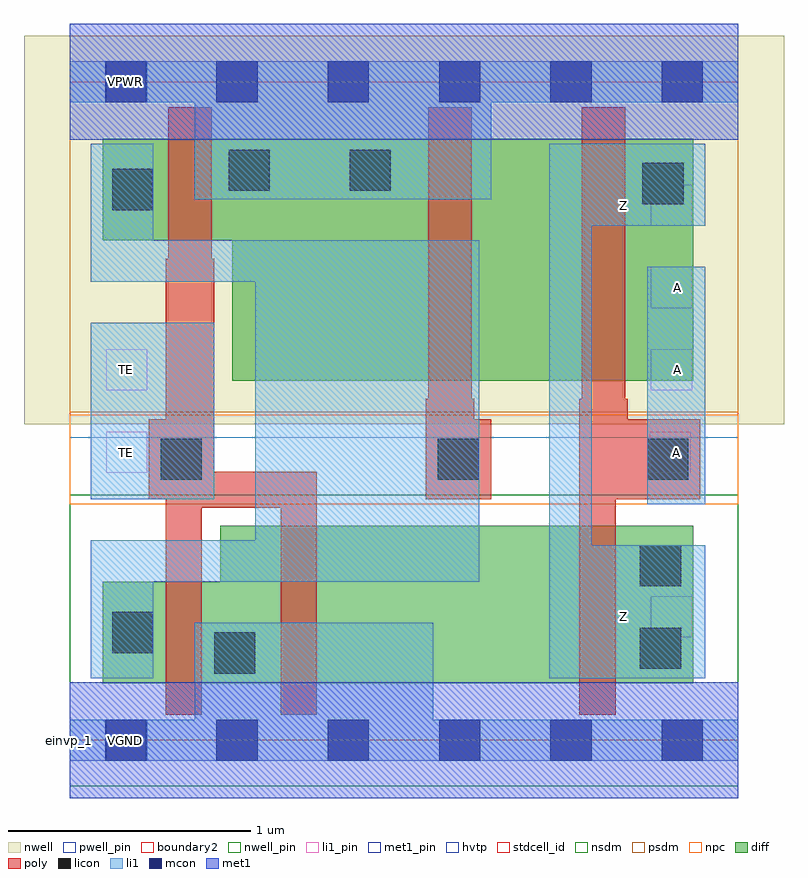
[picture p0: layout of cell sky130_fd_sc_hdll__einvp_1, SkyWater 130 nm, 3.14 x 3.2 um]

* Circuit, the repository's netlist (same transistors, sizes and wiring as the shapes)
* Copyright 2020 The SkyWater PDK Authors
*
* Licensed under the Apache License, Version 2.0 (the "License");
* you may not use this file except in compliance with the License.
* You may obtain a copy of the License at
*
*     https://www.apache.org/licenses/LICENSE-2.0
*
* Unless required by applicable law or agreed to in writing, software
* distributed under the License is distributed on an "AS IS" BASIS,
* WITHOUT WARRANTIES OR CONDITIONS OF ANY KIND, either express or implied.
* See the License for the specific language governing permissions and
* limitations under the License.
*
* SPDX-License-Identifier: Apache-2.0

.SUBCKT sky130_fd_sc_hdll__einvp_1 A TE VGND VNB VPB VPWR Z
*.PININFO A:I TE:I VGND:I VNB:I VPB:I VPWR:I Z:O
MMN0 Z A sndA VNB sky130_fd_pr__nfet_01v8 m=1 w=0.65U l=0.15U mult=1 sa=0.265 sb=0.265
+ sd=0.28 area=0.063 perim=1.14
MMN1 sndA TE VGND VNB sky130_fd_pr__nfet_01v8 m=1 w=0.65U l=0.15U mult=1 sa=0.265
+ sb=0.265 sd=0.28 area=0.063 perim=1.14
MMIN1 TEB TE VGND VNB sky130_fd_pr__nfet_01v8 m=1 w=0.42U l=0.15U mult=1 sa=0.265
+ sb=0.265 sd=0.28 area=0.063 perim=1.14
MMP0 VPWR TEB sndTEB VPB sky130_fd_pr__pfet_01v8_hvt m=1 w=1.0U l=0.18U mult=1
+ sa=0.265 sb=0.265 sd=0.28 area=0.063 perim=1.14
MMP1 sndTEB A Z VPB sky130_fd_pr__pfet_01v8_hvt m=1 w=1.0U l=0.18U mult=1 sa=0.265
+ sb=0.265 sd=0.28 area=0.063 perim=1.14
MMIP1 TEB TE VPWR VPB sky130_fd_pr__pfet_01v8_hvt m=1 w=0.42U l=0.18U mult=1 sa=0.265
+ sb=0.265 sd=0.28 area=0.063 perim=1.14
.ENDS sky130_fd_sc_hdll__einvp_1

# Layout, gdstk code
import gdstk
lib = gdstk.Library(unit=1e-6, precision=1e-09)
def R(c, l, rs):  # rectangles x0, y0, x1, y1
    for r in rs: c.add(gdstk.rectangle(r[:2], r[2:], *l))
def A(c, l, x, y, w, h, nx, ny, dx, dy):  # array of equal rectangles
    R(c, l, [(x+i*dx, y+j*dy, x+i*dx+w, y+j*dy+h) for i in range(nx) for j in range(ny)])
def P(c, l, *ps):  # polygons
    for p in ps: c.add(gdstk.Polygon(p, *l))
nwell_pin = (64, 16)
nwell = (64, 20)
diff = (65, 20)
poly = (66, 20)
licon = (66, 44)
li1_pin = (67, 16)
li1 = (67, 20)
mcon = (67, 44)
met1_pin = (68, 16)
met1 = (68, 20)
hvtp = (78, 44)
stdcell_id = (81, 4)
nsdm = (93, 44)
psdm = (94, 20)
npc = (95, 20)
pwell_pin = (122, 16)
boundary2 = (236, 0)

sky130_fd_sc_hdll__einvp = lib.new_cell('sky130_fd_sc_hdll__einvp_1')
R(sky130_fd_sc_hdll__einvp, nwell_pin, [(0.15,2.635,0.32,2.805)])
R(sky130_fd_sc_hdll__einvp, nwell, [(-0.19,1.305,2.95,2.91)])
P(sky130_fd_sc_hdll__einvp, diff, [(2.575,0.885),(0.62,0.885),(0.62,0.655),(0.135,0.655),(0.135,0.235),(2.575,0.235)],
  [(2.575,2.485),(0.135,2.485),(0.135,2.065),(0.67,2.065),(0.67,1.485),(2.575,1.485)])
P(sky130_fd_sc_hdll__einvp, poly, [(1.02,1.11),(0.595,1.11),(0.595,1.99),(0.585,1.99),(0.585,2.615),(0.405,2.615),(0.405,1.99),(0.395,1.99),(0.395,1.325),(0.325,1.325),(0.325,0.995),(0.395,0.995),(0.395,0.105),(0.545,0.105),(0.545,0.96),(0.87,0.96),(0.87,0.105),(1.02,0.105)],
  [(1.74,1.325),(1.67,1.325),(1.67,1.41),(1.66,1.41),(1.66,2.615),(1.48,2.615),(1.48,1.41),(1.47,1.41),(1.47,0.995),(1.74,0.995)],
  [(2.605,1.325),(2.305,1.325),(2.305,1.41),(2.295,1.41),(2.295,2.615),(2.115,2.615),(2.115,1.41),(2.105,1.41),(2.105,0.105),(2.255,0.105),(2.255,0.995),(2.605,0.995)])
R(sky130_fd_sc_hdll__einvp, licon, [(0.595,0.275,0.765,0.445), (2.355,0.295,2.525,0.465), (0.175,0.36,0.345,0.53), (2.355,0.635,2.525,0.805), (0.375,1.075,0.545,1.245), (1.52,1.075,1.69,1.245), (2.385,1.075,2.555,1.245), (0.175,2.19,0.345,2.36), (2.365,2.215,2.535,2.385), (0.655,2.27,0.825,2.44), (1.155,2.27,1.325,2.44)])
A(sky130_fd_sc_hdll__einvp, li1_pin, 2.4, 1.445, 0.17, 0.17, 1, 3, 0, 0.34)
R(sky130_fd_sc_hdll__einvp, li1_pin, [(2.4,0.425,2.57,0.595), (0.15,1.105,0.32,1.275), (2.395,1.105,2.565,1.275), (0.15,1.445,0.32,1.615)])
R(sky130_fd_sc_hdll__einvp, li1, [(2.385,0.975,2.625,1.955), (0.085,0.995,0.595,1.725)])
P(sky130_fd_sc_hdll__einvp, li1, [(2.625,0.805),(2.155,0.805),(2.155,2.125),(2.625,2.125),(2.625,2.465),(1.98,2.465),(1.98,0.255),(2.625,0.255)],
  [(2.76,2.805),(0,2.805),(0,2.635),(0.515,2.635),(0.515,2.235),(1.74,2.235),(1.74,2.635),(2.76,2.635)],
  [(1.69,2.065),(0.345,2.065),(0.345,2.465),(0.085,2.465),(0.085,1.895),(0.765,1.895),(0.765,0.825),(0.085,0.825),(0.085,0.255),(0.345,0.255),(0.345,0.655),(1.69,0.655)],
  [(2.76,0.085),(1.5,0.085),(1.5,0.485),(0.515,0.485),(0.515,0.085),(0,0.085),(0,-0.085),(2.76,-0.085)])
A(sky130_fd_sc_hdll__einvp, mcon, 0.145, -0.085, 0.17, 0.17, 6, 2, 0.46, 2.72)
R(sky130_fd_sc_hdll__einvp, met1_pin, [(0.15,-0.085,0.32,0.085), (0.15,2.635,0.32,2.805)])
R(sky130_fd_sc_hdll__einvp, met1, [(0,-0.24,2.76,0.24), (0,2.48,2.76,2.96)])
R(sky130_fd_sc_hdll__einvp, hvtp, [(0,1.25,2.76,2.72)])
R(sky130_fd_sc_hdll__einvp, stdcell_id, [(0,0,2.76,2.72)])
R(sky130_fd_sc_hdll__einvp, nsdm, [(0,-0.19,2.76,1.015)])
R(sky130_fd_sc_hdll__einvp, psdm, [(0,1.355,2.76,2.91)])
R(sky130_fd_sc_hdll__einvp, npc, [(0,0.975,2.76,1.345)])
R(sky130_fd_sc_hdll__einvp, pwell_pin, [(0.15,-0.085,0.32,0.085)])
R(sky130_fd_sc_hdll__einvp, boundary2, [(0,0,2.76,2.72)])
sky130_fd_sc_hdll__einvp.add(gdstk.Label('TE', (0.235,1.19), layer=67, texttype=5))
sky130_fd_sc_hdll__einvp.add(gdstk.Label('TE', (0.235,1.53), layer=67, texttype=5))
sky130_fd_sc_hdll__einvp.add(gdstk.Label('A', (2.505,1.19), layer=67, texttype=5))
sky130_fd_sc_hdll__einvp.add(gdstk.Label('A', (2.51,1.87), layer=67, texttype=5))
sky130_fd_sc_hdll__einvp.add(gdstk.Label('A', (2.51,1.53), layer=67, texttype=5))
sky130_fd_sc_hdll__einvp.add(gdstk.Label('Z', (2.285,2.21), layer=67, texttype=5))
sky130_fd_sc_hdll__einvp.add(gdstk.Label('Z', (2.285,0.51), layer=67, texttype=5))
sky130_fd_sc_hdll__einvp.add(gdstk.Label('VPWR', (0.23,2.72), layer=68, texttype=5))
sky130_fd_sc_hdll__einvp.add(gdstk.Label('VGND', (0.23,0), layer=68, texttype=5))
sky130_fd_sc_hdll__einvp.add(gdstk.Label('VPB', (0.235,2.72), layer=64, texttype=5))
sky130_fd_sc_hdll__einvp.add(gdstk.Label('VNB', (0.235,0), layer=64, texttype=59))
sky130_fd_sc_hdll__einvp.add(gdstk.Label('einvp_1', (0,0), layer=83, texttype=44))

lib.write_gds('sky130_fd_sc_hdll__einvp_1.gds')
